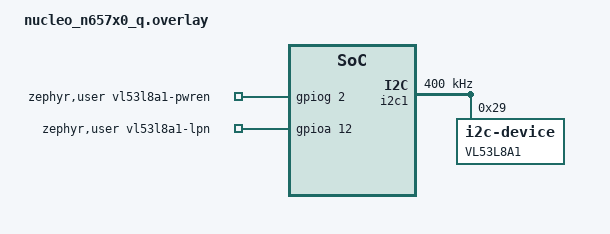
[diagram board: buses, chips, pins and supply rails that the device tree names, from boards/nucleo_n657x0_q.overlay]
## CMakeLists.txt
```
cmake_minimum_required(VERSION 3.20.0)
find_package(Zephyr REQUIRED HINTS $ENV{ZEPHYR_BASE})

project(53l8a1_ranging)

# ── Application source ──────────────────────────────────────────────────────
target_sources(app PRIVATE
    src/main.c
    src/net_client.c
)

# ── VL53L8CX sensor library (portable, no HAL) ──────────────────────────────
set(VL53L8CX_DIR ${CMAKE_CURRENT_SOURCE_DIR}/lib/vl53l8cx)

target_sources(app PRIVATE
    ${VL53L8CX_DIR}/porting/platform.c
    ${VL53L8CX_DIR}/modules/vl53l8cx_api.c
    ${VL53L8CX_DIR}/modules/vl53l8cx_plugin_detection_thresholds.c
    ${VL53L8CX_DIR}/modules/vl53l8cx_plugin_motion_indicator.c
    ${VL53L8CX_DIR}/modules/vl53l8cx_plugin_xtalk.c
)

target_include_directories(app PRIVATE
    ${VL53L8CX_DIR}/porting
    ${VL53L8CX_DIR}/modules
)
```

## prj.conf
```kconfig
# Application config
CONFIG_MAIN_STACK_SIZE=4096

# I2C
CONFIG_I2C=y

# GPIO (for PWR_EN and LPn control)
CONFIG_GPIO=y

# Console / UART
CONFIG_SERIAL=y
CONFIG_CONSOLE=y
CONFIG_UART_CONSOLE=y

# Heap for WrMulti: largest single alloc is 32768+2 bytes (firmware block)
CONFIG_HEAP_MEM_POOL_SIZE=40960

# Interrupt mode required for large (>255 byte) I2C writes to VL53L8CX command mailbox.
# Polling mode (=n) hits the STM32N6 NBYTES/RELOAD boundary at 255 bytes, corrupting
# the 488-byte offset and 776-byte xtalk commands (MCU returns status 0x05).
CONFIG_I2C_STM32_INTERRUPT=y

# At 400 kHz (Fast mode), uploading the 32 KB VL53L8CX firmware takes ~740 ms.
# The default 500 ms timeout is too short — raise to 5 s to cover worst case.
CONFIG_I2C_STM32_TRANSFER_TIMEOUT_MSEC=5000

# Ethernet networking
CONFIG_NETWORKING=y
CONFIG_NET_L2_ETHERNET=y
CONFIG_ETH_STM32_HAL=y
CONFIG_NET_IPV4=y
CONFIG_NET_IPV6=n
CONFIG_NET_TCP=y
CONFIG_NET_UDP=y
CONFIG_NET_SOCKETS=y
CONFIG_NET_DHCPV4=y
CONFIG_NET_CONFIG_SETTINGS=y
CONFIG_NET_CONFIG_NEED_IPV4=y

# Network buffer sizing for TCP streaming
CONFIG_NET_PKT_RX_COUNT=16
CONFIG_NET_PKT_TX_COUNT=16
CONFIG_NET_BUF_RX_COUNT=48
CONFIG_NET_BUF_TX_COUNT=48
```

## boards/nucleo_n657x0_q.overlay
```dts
/* nucleo_n657x0_q overlay for VL53L8A1 ranging shield
 *
 * Pin mapping derived from F4 reference code (app_tof_pin_conf.h):
 *   F4 PWR_EN = PA7 (Arduino D11) -> N6 D11 = PG2
 *   F4 LPn    = PB0 (Arduino A3)  -> N6 A3  = PA12
 *   I2C -> i2c1 (SCL=PH9 / D15, SDA=PC1 / D14)
 *
 * Sensor I2C address: 0x29 (7-bit form of 0x52).
 */

&i2c1 {
	status = "okay";
	clock-frequency = <I2C_BITRATE_FAST>;
	vl53l8a1: vl53l8a1@29 {
		compatible = "i2c-device";
		reg = <0x29>;
		label = "VL53L8A1";
	};
};

/* Disable SPI5 to free PG2 (Arduino D11 / PWR_EN = SPI5_MOSI) */
&spi5 {
	status = "disabled";
};

/ {
	zephyr,user {
		vl53l8a1-pwren-gpios = <&gpiog 2  GPIO_ACTIVE_HIGH>;
		vl53l8a1-lpn-gpios   = <&gpioa 12 GPIO_ACTIVE_HIGH>;
	};
};
```

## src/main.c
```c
/*
 * VL53L8A1 Simple Ranging — Zephyr port for nucleo_n657x0_q
 *
 * Ported from STM32CubeMX X-CUBE-TOF1 example.
 * HAL calls replaced with Zephyr APIs:
 *   - I2C       : zephyr/drivers/i2c.h
 *   - GPIO      : zephyr/drivers/gpio.h
 *   - Delay     : k_msleep()
 *   - Print     : printk()
 */

#include <zephyr/kernel.h>
#include <zephyr/drivers/i2c.h>
#include <zephyr/drivers/gpio.h>
#include <string.h>

#include "vl53l8cx_api.h"
#include "net_client.h"

/* --------------------------------------------------------------------------
 * Board wiring (X-NUCLEO-53L8A1 on Arduino header, nucleo_n657x0_q):
 *   PWR_EN -> PG2  (Arduino D11)
 *   LPn    -> PA12 (Arduino A3)
 *   I2C    -> PH9/PC1 (SCL/SDA, Arduino D15/D14, i2c1)
 * -------------------------------------------------------------------------- */
#define VL53L8A1_I2C_NODE   DT_NODELABEL(vl53l8a1)
#define VL53L8A1_I2C_ADDR   0x29U   /* 7-bit (0x52 >> 1) */

/* --------------------------------------------------------------------------
 * Ranging configuration
 * -------------------------------------------------------------------------- */
#define TIMING_BUDGET       30U                    /* ms  — must be 5..100 ms */
#define RANGING_FREQUENCY   10U                    /* Hz  — must be consistent with budget */
#define RANGING_RESOLUTION  VL53L8CX_RESOLUTION_8X8
#define ZONES_PER_LINE      8U
#define TOTAL_ZONES         (ZONES_PER_LINE * ZONES_PER_LINE)

/* --------------------------------------------------------------------------
 * Helpers
 * -------------------------------------------------------------------------- */
static void print_result(VL53L8CX_ResultsData *results, uint8_t zones_per_line)
{
    printk("\033[2J\033[H");   /* clear terminal */
    printk("VL53L8A1 — distance results (%dx%d)\n\n",
           zones_per_line, zones_per_line);

    for (int row = 0; row < zones_per_line; row++) {
        for (int col = zones_per_line - 1; col >= 0; col--) {
            int zone = row * zones_per_line + col;
            if (results->nb_target_detected[zone] > 0) {
                printk("| %4d mm ", results->distance_mm[zone * VL53L8CX_NB_TARGET_PER_ZONE]);
            } else {
                printk("|    ---- ");
            }
        }
        printk("|\n");
    }
    printk("\n");
}

static void fill_frame_from_results(const VL53L8CX_ResultsData *results,
                                    struct ranging_frame *frame)
{
    frame->timestamp_ms = k_uptime_get();

    for (int zone = 0; zone < TOTAL_ZONES; zone++) {
        uint8_t detected = results->nb_target_detected[zone] > 0U;
        frame->target_detected[zone] = detected;
        frame->distance_mm[zone] = detected
            ? results->distance_mm[zone * VL53L8CX_NB_TARGET_PER_ZONE]
            : -1;
    }
}

/* --------------------------------------------------------------------------
 * Main
 * -------------------------------------------------------------------------- */
int main(void)
{
    /* --- Get I2C bus device from DTS --- */
    const struct device *i2c_dev = DEVICE_DT_GET(DT_BUS(VL53L8A1_I2C_NODE));

    if (!device_is_ready(i2c_dev)) {
        printk("ERROR: I2C device not ready\n");
        return -1;
    }

    /* --- Optional GPIO control (PWR_EN, LPn) --- */
#if DT_NODE_HAS_PROP(DT_PATH(zephyr_user), vl53l8a1_pwren_gpios)
    const struct gpio_dt_spec pwr_en =
        GPIO_DT_SPEC_GET(DT_PATH(zephyr_user), vl53l8a1_pwren_gpios);
    if (!device_is_ready(pwr_en.port)) 
    {
        printk("WARN: PWR_EN GPIO port not ready\n");
    } 
    else 
    {
        gpio_pin_configure_dt(&pwr_en, GPIO_OUTPUT_INACTIVE);
        k_msleep(10);
        gpio_pin_set_dt(&pwr_en, 1);
        k_msleep(10);
        printk("PWR_EN asserted (port=%s pin=%d)\n", pwr_en.port->name, pwr_en.pin);
    }
#else
    printk("WARN: PWR_EN not defined in DTS\n");
#endif

#if DT_NODE_HAS_PROP(DT_PATH(zephyr_user), vl53l8a1_lpn_gpios)
    const struct gpio_dt_spec lpn =
        GPIO_DT_SPEC_GET(DT_PATH(zephyr_user), vl53l8a1_lpn_gpios);
    if (!device_is_ready(lpn.port)) 
    {
        printk("WARN: LPn GPIO port not ready\n");
    } 
    else {
        gpio_pin_configure_dt(&lpn, GPIO_OUTPUT_INACTIVE);
        k_msleep(2);
        gpio_pin_set_dt(&lpn, 1);
        k_msleep(10);
        printk("LPn asserted (port=%s pin=%d)\n", lpn.port->name, lpn.pin);
    }
#else
    printk("WARN: LPn not defined in DTS\n");
#endif

    /* --- Full I2C bus scan --- */
    printk("I2C bus scan:\n");
    bool found_any = false;
    for (uint8_t addr = 0x08; addr <= 0x77; addr++) 
    {
        uint8_t dummy = 0;
        if (i2c_write(i2c_dev, &dummy, 0, addr) == 0) 
        {
            printk("  ACK at 0x%02x\n", addr);
            found_any = true;
        }
    }
    if (!found_any) 
    {
        printk("  No devices found — check J9 jumper on shield (must be [2-3] for I2C)\n");
    }

    /* --- Initialise platform struct --- */
    static VL53L8CX_Configuration sensor;
    memset(&sensor, 0, sizeof(sensor));
    sensor.platform.i2c_dev  = i2c_dev;
    sensor.platform.address = VL53L8A1_I2C_ADDR;

    /* --- Hardware reset: cycle LPn to ensure sensor starts from clean state --- */
#if DT_NODE_HAS_PROP(DT_PATH(zephyr_user), vl53l8a1_lpn_gpios)
    gpio_pin_set_dt(&lpn, 0);   /* LPn LOW  → sensor enters low-power/reset */
    k_msleep(10);
    gpio_pin_set_dt(&lpn, 1);   /* LPn HIGH → sensor boots from ROM */
    k_msleep(100);              /* allow full cold boot before any I2C */
    printk("LPn cycled — sensor cold boot\n");
#endif

    /* --- Read reg 0x06 to check sensor state before init --- */
    {
        uint8_t reg_addr[2] = {0x00, 0x06};
        uint8_t reg_val = 0xFF;
        i2c_write_read(i2c_dev, VL53L8A1_I2C_ADDR, reg_addr, 2, &reg_val, 1);
        printk("Pre-init reg 0x0006 = 0x%02x\n", reg_val);
    }

    /* --- Init sensor --- */
    int64_t t0 = k_uptime_get();
    printk("VL53L8A1 Simple Ranging — initialising...\n");
    uint8_t status = vl53l8cx_init(&sensor);
    printk("vl53l8cx_init took %lld ms\n", k_uptime_get() - t0);
    if (status != VL53L8CX_STATUS_OK) 
    {
        printk("ERROR: vl53l8cx_init failed (status=%d)\n", status);
        return -1;
    }
    printk("Sensor init OK\n");

    /* --- Initialize network --- */
    printk("\n");
    int net_ret = net_client_init();
    if (net_ret != 0) {
        printk("WARN: Network init failed, continuing without streaming\n");
    } else {
        net_ret = net_client_start();
        if (net_ret != 0) {
            printk("WARN: network client start failed (%d), stream disabled\n", net_ret);
        } else {
            printk("Network client task started\n");
        }
    }

    if (net_ret != 0) {
        printk("NET: streaming disabled until network is available\n");
    } else {
        printk("NET: streaming enabled\n");
    }
    printk("\n");

    /* --- Configure profile: 8x8 continuous --- */
    vl53l8cx_set_resolution(&sensor, RANGING_RESOLUTION);
    vl53l8cx_set_ranging_mode(&sensor, VL53L8CX_RANGING_MODE_CONTINUOUS);
    vl53l8cx_set_ranging_frequency_hz(&sensor, RANGING_FREQUENCY);
    vl53l8cx_set_integration_time_ms(&sensor, TIMING_BUDGET);

    /* --- Start ranging --- */
    status = vl53l8cx_start_ranging(&sensor);
    if (status != VL53L8CX_STATUS_OK) 
    {
        printk("ERROR: vl53l8cx_start_ranging failed (status=%d)\n", status);
        return -1;
    }
    printk("Ranging started — polling every 100 ms\n");

    static VL53L8CX_ResultsData results;
    struct ranging_frame frame;
    uint8_t data_ready;

    while (1) 
    {
        vl53l8cx_check_data_ready(&sensor, &data_ready);
        if (data_ready) 
        {
            vl53l8cx_get_ranging_data(&sensor, &results);
            print_result(&results, ZONES_PER_LINE);

            fill_frame_from_results(&results, &frame);
            net_client_submit(&frame);
        }
        k_msleep(100);
    }

    return 0;
}
```

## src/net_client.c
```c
#include <zephyr/kernel.h>
#include <zephyr/net/socket.h>
#include <zephyr/net/net_if.h>
#include <zephyr/net/net_ip.h>
#include <zephyr/net/dhcpv4.h>
#include <zephyr/sys/printk.h>

#include <errno.h>
#include <stdbool.h>
#include <stdio.h>
#include <string.h>

#include "net_client.h"
#include "server_config.h"

#define NET_CLIENT_STACK_SIZE 4096
#define NET_CLIENT_PRIORITY   7
#define NET_CLIENT_QUEUE_LEN  8
#define NET_TX_LINE_MAX       1024

K_MSGQ_DEFINE(ranging_msgq, sizeof(struct ranging_frame), NET_CLIENT_QUEUE_LEN, 4);
K_THREAD_STACK_DEFINE(net_client_stack, NET_CLIENT_STACK_SIZE);

static struct k_thread net_client_thread_data;
static k_tid_t net_client_tid;
static bool net_client_started;

static int format_frame_line(const struct ranging_frame *frame, char *buf, size_t len)
{
    int used = snprintf(buf, len, "ts=%lld", frame->timestamp_ms);

    if (used < 0 || (size_t)used >= len) {
        return -ENOMEM;
    }

    for (int i = 0; i < RANGING_ZONE_COUNT; i++) {
        int written = snprintf(&buf[used], len - (size_t)used,
                               ",z%d=%d", i,
                               frame->target_detected[i] ? frame->distance_mm[i] : -1);
        if (written < 0 || (size_t)written >= (len - (size_t)used)) {
            return -ENOMEM;
        }
        used += written;
    }

    if ((size_t)used + 1U >= len) {
        return -ENOMEM;
    }

    buf[used++] = '\n';
    buf[used] = '\0';

    return used;
}

static void print_ipv4_addr(void)
{
    struct net_if *iface = net_if_get_default();
    if (!iface) {
        printk("NET: no default interface\n");
        return;
    }

    struct net_in_addr *addr = net_if_ipv4_get_global_addr(iface,
                                                            NET_ADDR_PREFERRED);
    if (addr) {
        char addr_str[NET_IPV4_ADDR_LEN];
        net_addr_ntop(AF_INET, addr, addr_str, sizeof(addr_str));
        printk("NET: IPv4 = %s\n", addr_str);
        return;
    }

    printk("NET: no preferred IPv4 address assigned yet\n");
}

static int apply_static_ipv4_fallback(struct net_if *iface)
{
    struct net_in_addr ip;
    struct net_in_addr netmask;
    struct net_in_addr gw;

    if (net_addr_pton(AF_INET, DEVICE_IP_ADDR, &ip) < 0 ||
        net_addr_pton(AF_INET, DEVICE_NETMASK, &netmask) < 0 ||
        net_addr_pton(AF_INET, DEVICE_GW_ADDR, &gw) < 0) {
        printk("NET: invalid static fallback config\n");
        return -EINVAL;
    }

#if defined(CONFIG_NET_DHCPV4)
    net_dhcpv4_stop(iface);
#endif

    struct net_if_addr *added = net_if_ipv4_addr_add(iface, &ip,
                                                     NET_ADDR_MANUAL, 0);
    if (added == NULL) {
        printk("NET: failed to add static IPv4 address\n");
        return -EADDRNOTAVAIL;
    }

    (void)net_if_ipv4_set_netmask_by_addr(iface, &ip, &netmask);
    net_if_ipv4_set_gw(iface, &gw);

    printk("NET: static fallback applied (%s/%s gw %s)\n",
           DEVICE_IP_ADDR, DEVICE_NETMASK, DEVICE_GW_ADDR);
    return 0;
}

int net_client_init(void)
{
    printk("NET: waiting for network interface...\n");

    struct net_if *iface = net_if_get_default();
    if (!iface) {
        printk("ERROR: NET: no default interface available\n");
        return -ENODEV;
    }

    printk("NET: interface: %s\n", net_if_get_device(iface)->name);

    if (!net_if_is_admin_up(iface)) {
        int up_ret = net_if_up(iface);
        printk("NET: net_if_up() -> %d\n", up_ret);
    }

#if DEVICE_FORCE_STATIC
    printk("NET: DEVICE_FORCE_STATIC=1, applying static IPv4\n");
    int static_ret = apply_static_ipv4_fallback(iface);
    if (static_ret == 0) {
        print_ipv4_addr();
        printk("NET: interface is up and configured (static)\n");
        return 0;
    }
    printk("NET: static apply failed (%d), continuing with DHCP\n", static_ret);
#endif

#if defined(CONFIG_NET_DHCPV4)
    printk("NET: starting DHCPv4 client\n");
    net_dhcpv4_start(iface);
#endif

    /* Wait for interface to be up and configured (DHCP) */
    int timeout_ms = DEVICE_DHCP_TIMEOUT_MS;
    int poll_interval = 500; /* 500 ms */
    int elapsed = 0;
    int next_log_ms = 0;

    while (elapsed < timeout_ms) {
        bool is_up = net_if_is_up(iface);
        bool carrier_ok = net_if_is_carrier_ok(iface);

        if (elapsed >= next_log_ms) {
            printk("NET: link up=%d carrier=%d\n", is_up, carrier_ok);
            next_log_ms += 5000;
        }

        if (is_up && carrier_ok) {
            struct net_in_addr *addr = net_if_ipv4_get_global_addr(iface,
                                                                    NET_ADDR_PREFERRED);

            if (addr != NULL) {
                print_ipv4_addr();
                printk("NET: interface is up and configured\n");
                return 0;
            }
        }

        k_msleep(poll_interval);
        elapsed += poll_interval;
    }

    printk("WARN: NET: timeout waiting for interface configuration\n");
    print_ipv4_addr();

#if DEVICE_USE_STATIC_FALLBACK
    printk("NET: DHCP timeout, trying static fallback\n");
    int fallback_ret = apply_static_ipv4_fallback(iface);
    if (fallback_ret == 0) {
        print_ipv4_addr();
        return 0;
    }
    printk("NET: static fallback failed (%d)\n", fallback_ret);
#endif

    return -ETIMEDOUT;
}

static int connect_to_server(void)
{
    struct sockaddr_in server_addr = {
        .sin_family = AF_INET,
        .sin_port = htons(SERVER_PORT),
    };

    if (zsock_inet_pton(AF_INET, SERVER_IP_ADDR, &server_addr.sin_addr) != 1) {
        printk("NET: invalid SERVER_IP_ADDR: %s\n", SERVER_IP_ADDR);
        return -EINVAL;
    }

    int sock = zsock_socket(AF_INET, SOCK_STREAM, IPPROTO_TCP);
    if (sock < 0) {
        int err = -errno;
        printk("NET: socket() failed: %d\n", err);
        return err;
    }

    printk("NET: connecting to %s:%d...\n", SERVER_IP_ADDR, SERVER_PORT);

    if (zsock_connect(sock, (struct sockaddr *)&server_addr, sizeof(server_addr)) < 0) {
        int err = -errno;
        printk("NET: connect() failed: %d\n", err);
        zsock_close(sock);
        return err;
    }

    printk("NET: connected to %s:%d\n", SERVER_IP_ADDR, SERVER_PORT);
    return sock;
}

static void net_client_thread(void *p1, void *p2, void *p3)
{
    ARG_UNUSED(p1);
    ARG_UNUSED(p2);
    ARG_UNUSED(p3);

    int sock = -1;
    char tx_line[NET_TX_LINE_MAX];

    while (1) {
        if (sock < 0) {
            sock = connect_to_server();
            if (sock < 0) {
                printk("NET: connect failed, retry in %d ms\n",
                       SERVER_RECONNECT_DELAY_MS);
                k_msleep(SERVER_RECONNECT_DELAY_MS);
                continue;
            }
        }

        struct ranging_frame frame;
        if (k_msgq_get(&ranging_msgq, &frame, K_MSEC(500)) != 0) {
            continue;
        }

        int tx_len = format_frame_line(&frame, tx_line, sizeof(tx_line));
        if (tx_len < 0) {
            printk("NET: frame encode failed (%d)\n", tx_len);
            continue;
        }

        int sent = zsock_send(sock, tx_line, (size_t)tx_len, 0);
        if (sent < 0) {
            printk("NET: send failed (%d), reconnecting\n", -errno);
            zsock_close(sock);
            sock = -1;
        }
    }
}

int net_client_start(void)
{
    if (net_client_started) {
        return 0;
    }

    net_client_tid = k_thread_create(&net_client_thread_data,
                                     net_client_stack,
                                     K_THREAD_STACK_SIZEOF(net_client_stack),
                                     net_client_thread,
                                     NULL, NULL, NULL,
                                     NET_CLIENT_PRIORITY,
                                     0,
                                     K_NO_WAIT);

    if (!net_client_tid) {
        return -ENOMEM;
    }

    k_thread_name_set(net_client_tid, "net_client");
    net_client_started = true;

    return 0;
}

int net_client_submit(const struct ranging_frame *frame)
{
    if (!net_client_started) {
        return -EAGAIN;
    }

    int ret = k_msgq_put(&ranging_msgq, frame, K_NO_WAIT);
    if (ret == 0) {
        return 0;
    }

    /* Keep the stream live by dropping stale frames and enqueueing newest one. */
    k_msgq_purge(&ranging_msgq);
    return k_msgq_put(&ranging_msgq, frame, K_NO_WAIT);
}
```

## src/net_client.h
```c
#ifndef NET_CLIENT_H_
#define NET_CLIENT_H_

#include <zephyr/kernel.h>
#include <stdint.h>

#define RANGING_ZONE_COUNT 64

struct ranging_frame {
    int64_t timestamp_ms;
    int16_t distance_mm[RANGING_ZONE_COUNT];
    uint8_t target_detected[RANGING_ZONE_COUNT];
};

int net_client_init(void);
int net_client_start(void);
int net_client_submit(const struct ranging_frame *frame);

#endif /* NET_CLIENT_H_ */
```

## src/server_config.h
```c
#ifndef SERVER_CONFIG_H_
#define SERVER_CONFIG_H_

/* Update these for your PC server. */
#define SERVER_IP_ADDR            "192.168.1.100"
#define SERVER_PORT               5000

/* Network bring-up mode:
 * 0 = try DHCP first, then static fallback after timeout
 * 1 = force static immediately (skip DHCP)
 */
#define DEVICE_FORCE_STATIC        1
#define DEVICE_DHCP_TIMEOUT_MS     20000

/*
 * If DHCP does not provide an address, enable static fallback below.
 * Keep DEVICE_IP_ADDR in the same subnet as SERVER_IP_ADDR.
 */
#define DEVICE_USE_STATIC_FALLBACK 1
#define DEVICE_IP_ADDR             "192.168.1.50"
#define DEVICE_NETMASK             "255.255.255.0"
#define DEVICE_GW_ADDR             "192.168.1.1"

/* Retry delay while server is not reachable. */
#define SERVER_RECONNECT_DELAY_MS 2000

#endif /* SERVER_CONFIG_H_ */
```
